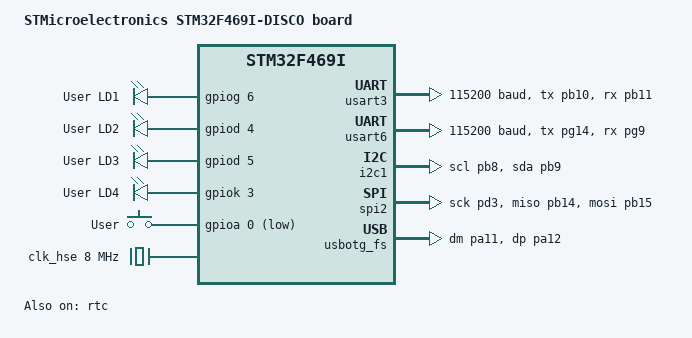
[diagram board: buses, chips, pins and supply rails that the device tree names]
/*
 * Copyright (c) 2017 Linaro Limited
 *
 * SPDX-License-Identifier: Apache-2.0
 */

/dts-v1/;
#include <st/f4/stm32f469Xi.dtsi>
#include <st/f4/stm32f469nihx-pinctrl.dtsi>
#include "arduino_r3_connector.dtsi"

/ {
	model = "STMicroelectronics STM32F469I-DISCO board";
	compatible = "st,stm32f469i-disco";

	chosen {
		zephyr,console = &usart3;
		zephyr,shell-uart = &usart3;
		zephyr,sram = &sram0;
		zephyr,flash = &flash0;
		zephyr,ccm = &ccm0;
	};

	leds {
		compatible = "gpio-leds";
		green_led_1: led_1 {
			gpios = <&gpiog 6 GPIO_ACTIVE_HIGH>;
			label = "User LD1";
		};
		orange_led_2: led_2 {
			gpios = <&gpiod 4 GPIO_ACTIVE_HIGH>;
			label = "User LD2";
		};
		red_led_3: led_3 {
			gpios = <&gpiod 5 GPIO_ACTIVE_HIGH>;
			label = "User LD3";
		};
		blue_led_4: led_4 {
			gpios = <&gpiok 3 GPIO_ACTIVE_HIGH>;
			label = "User LD4";
		};
	};

	gpio_keys {
		compatible = "gpio-keys";
		user_button: button {
			label = "User";
			gpios = <&gpioa 0 GPIO_ACTIVE_LOW>;
		};
	};

	aliases {
		led0 = &green_led_1;
		led1 = &orange_led_2;
		led2 = &red_led_3;
		led3 = &blue_led_4;
		sw0 = &user_button;
	};
};

&clk_hse {
	clock-frequency = <DT_FREQ_M(8)>;
	status = "okay";
};

&pll {
	div-m = <8>;
	mul-n = <360>;
	div-p = <2>;
	div-q = <7>;
	clocks = <&clk_hse>;
	status = "okay";
};

&rcc {
	clocks = <&pll>;
	clock-frequency = <DT_FREQ_M(180)>;
	ahb-prescaler = <1>;
	apb1-prescaler = <4>;
	apb2-prescaler = <2>;
};

&usart3 {
	pinctrl-0 = <&usart3_tx_pb10 &usart3_rx_pb11>;
	current-speed = <115200>;
	status = "okay";
};

&usart6 {
	pinctrl-0 = <&usart6_tx_pg14 &usart6_rx_pg9>;
	current-speed = <115200>;
	status = "okay";
};

&i2c1 {
	pinctrl-0 = <&i2c1_scl_pb8 &i2c1_sda_pb9>;
	status = "okay";
};

&spi2 {
	pinctrl-0 = <&spi2_sck_pd3 &spi2_miso_pb14 &spi2_mosi_pb15>;
	cs-gpios = <&gpioh 6 (GPIO_ACTIVE_LOW | GPIO_PULL_UP)>;
	status = "okay";
};

&usbotg_fs {
	pinctrl-0 = <&usb_otg_fs_dm_pa11 &usb_otg_fs_dp_pa12>;
	status = "okay";
};

&rtc {
	status = "okay";
};
